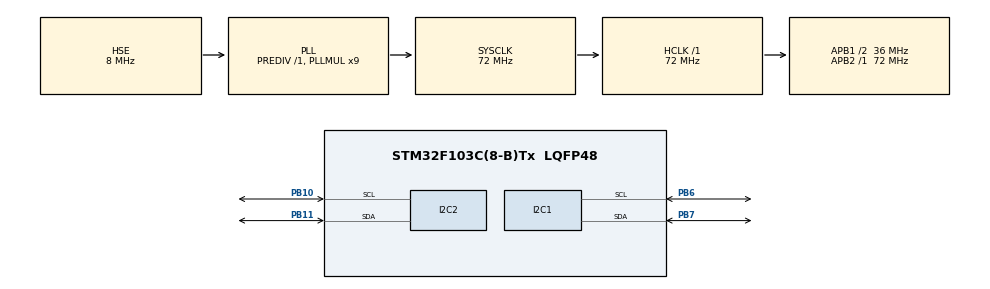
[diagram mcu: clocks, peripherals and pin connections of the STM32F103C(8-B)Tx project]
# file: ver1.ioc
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I2C2.I2C_Mode=I2C_Fast
Mcu.Family=STM32F1
Mcu.Name=STM32F103C(8-B)Tx
Mcu.Package=LQFP48
NVIC.PriorityGroup=NVIC_PRIORITYGROUP_4
PA13.Mode=Serial_Wire
PA13.Signal=SYS_JTMS-SWDIO
PA14.Mode=Serial_Wire
PA14.Signal=SYS_JTCK-SWCLK
PB10.Mode=I2C
PB10.Signal=I2C2_SCL
PB11.Mode=I2C
PB11.Signal=I2C2_SDA
PB6.Mode=I2C
PB6.Signal=I2C1_SCL
PB7.Mode=I2C
PB7.Signal=I2C1_SDA
PD0-OSC_IN.Mode=HSE-External-Oscillator
PD0-OSC_IN.Signal=RCC_OSC_IN
PD1-OSC_OUT.Mode=HSE-External-Oscillator
PD1-OSC_OUT.Signal=RCC_OSC_OUT
ProjectManager.HeapSize=0x200
ProjectManager.StackSize=0x400
ProjectManager.TargetToolchain=MDK-ARM V5.32
RCC.AHBFreq_Value=72000000
RCC.APB1CLKDivider=RCC_HCLK_DIV2
RCC.APB1Freq_Value=36000000
RCC.APB1TimFreq_Value=72000000
RCC.APB2Freq_Value=72000000
RCC.APB2TimFreq_Value=72000000
RCC.HCLKFreq_Value=72000000
RCC.PLLMUL=RCC_PLL_MUL9
RCC.PLLSourceVirtual=RCC_PLLSOURCE_HSE
RCC.SYSCLKFreq_VALUE=72000000
RCC.SYSCLKSource=RCC_SYSCLKSOURCE_PLLCLK
RCC.USBFreq_Value=72000000
board=custom

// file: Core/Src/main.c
/* USER CODE BEGIN Header */
/**
  ******************************************************************************
  * @file           : main.c
  * @brief          : Main program body
  ******************************************************************************
  * @attention
  *
  * Copyright (c) 2025 STMicroelectronics.
  * All rights reserved.
  *
  * This software is licensed under terms that can be found in the LICENSE file
  * in the root directory of this software component.
  * If no LICENSE file comes with this software, it is provided AS-IS.
  *
  ******************************************************************************
  */
/* USER CODE END Header */
#include "main.h"

/* USER CODE BEGIN Includes */
#include "lcd_i2c.h"
#include "stdio.h"
#include "font.h"
#include "oled_i2c.h"
/* USER CODE END Includes */

I2C_HandleTypeDef hi2c1;
I2C_HandleTypeDef hi2c2;

void SystemClock_Config(void);
static void MX_GPIO_Init(void);
static void MX_I2C1_Init(void);
static void MX_I2C2_Init(void);

/* USER CODE BEGIN 0 */
#define DS3231_DEVICE_ID      0xD0
#define DS3231_SECONDS_REG    0x00
#define DS3231_MINUTES_REG    0x01
#define DS3231_HOURS_REG      0x02
#define DS3231_DAY_REG        0x03
#define DS3231_DATE_REG       0x04
#define DS3231_MONTH_REG      0x05
#define DS3231_YEAR_REG       0x06
#define DS3231_TEMP_MSB_REG   0x11
#define DS3231_TEMP_LSB_REG   0x12

typedef struct {
    uint8_t seconds;
    uint8_t minutes;
    uint8_t hours;
    uint8_t months;
    uint8_t day_of_weeks;
    uint8_t day_of_months;
    uint8_t years; // S?a t? uint32_t thаnh uint8_t
} LOGAN_CLOCK;
LOGAN_CLOCK clock;

uint8_t set_time_ne[7];
uint8_t get_time_ne[7];

char date_str[11];
char time_str[9];

uint8_t decimal_bcd(uint8_t value) {
    return ((value / 10) << 4) | (value % 10);
}

uint8_t bcd_decimal(uint8_t bcd) {
    return ((bcd >> 4) * 10) + (bcd & 0x0F);
}

void set_time(uint8_t second, uint8_t minute, uint8_t hour, uint8_t day_of_week, uint8_t day_of_month, uint8_t month, uint16_t year) {
    set_time_ne[0] = decimal_bcd(second);
    set_time_ne[1] = decimal_bcd(minute);
    set_time_ne[2] = decimal_bcd(hour);
    set_time_ne[3] = decimal_bcd(day_of_week);
    set_time_ne[4] = decimal_bcd(day_of_month);
    set_time_ne[5] = decimal_bcd(month);
    set_time_ne[6] = decimal_bcd(year % 100); // Ch? l?y 2 ch? s? cu?i (25 t? 2025)
    HAL_I2C_Mem_Write(&hi2c1, DS3231_DEVICE_ID, 0x00, 1, set_time_ne, 7, 100);
}

void get_time() {
    HAL_I2C_Mem_Read(&hi2c1, DS3231_DEVICE_ID, 0x00, 1, get_time_ne, 7, 100);
    clock.seconds = bcd_decimal(get_time_ne[0]);
    clock.minutes = bcd_decimal(get_time_ne[1]);
    clock.hours = bcd_decimal(get_time_ne[2]);
    clock.day_of_weeks = bcd_decimal(get_time_ne[3]);
    clock.day_of_months = bcd_decimal(get_time_ne[4]);
    clock.months = bcd_decimal(get_time_ne[5]);
    clock.years = bcd_decimal(get_time_ne[6]);
}

void display(){
	get_time();
	sprintf(date_str, "%d/%d/%04d", clock.day_of_months, clock.months, 2000+clock.years);
	sprintf(time_str, "%d:%d:%d", clock.hours, clock.minutes, clock.seconds);
	SSD1306_Puts (date_str, &Font_11x18, 1);
	SSD1306_GotoXY (0, 30);
	SSD1306_Puts (time_str, &Font_11x18, 1);
	SSD1306_GotoXY (0,0);
  SSD1306_UpdateScreen();
}
/* USER CODE END 0 */

int main(void)
{

  /* MCU Configuration--------------------------------------------------------*/

  /* Reset of all peripherals, Initializes the Flash interface and the Systick. */
  HAL_Init();

  /* Configure the system clock */
  SystemClock_Config();

  /* Initialize all configured peripherals */
  MX_GPIO_Init();
  MX_I2C1_Init();
  MX_I2C2_Init();
	SSD1306_Init();
  /* USER CODE BEGIN 2 */
	set_time(0, 37, 14, 2, 12, 5, 2025); // second, minute, hour, day of weeks, day of months, month, year

  /* USER CODE END 2 */

  /* Infinite loop */
  while (1)
  {

    /* USER CODE BEGIN 3 */
		display();

  }
  /* USER CODE END 3 */
}

void SystemClock_Config(void)
{
  RCC_OscInitTypeDef RCC_OscInitStruct = {0};
  RCC_ClkInitTypeDef RCC_ClkInitStruct = {0};

  /** Initializes the RCC Oscillators according to the specified parameters
  * in the RCC_OscInitTypeDef structure.
  */
  RCC_OscInitStruct.OscillatorType = RCC_OSCILLATORTYPE_HSE;
  RCC_OscInitStruct.HSEState = RCC_HSE_ON;
  RCC_OscInitStruct.HSEPredivValue = RCC_HSE_PREDIV_DIV1;
  RCC_OscInitStruct.HSIState = RCC_HSI_ON;
  RCC_OscInitStruct.PLL.PLLState = RCC_PLL_ON;
  RCC_OscInitStruct.PLL.PLLSource = RCC_PLLSOURCE_HSE;
  RCC_OscInitStruct.PLL.PLLMUL = RCC_PLL_MUL9;
  if (HAL_RCC_OscConfig(&RCC_OscInitStruct) != HAL_OK)
  {
    Error_Handler();
  }

  /** Initializes the CPU, AHB and APB buses clocks
  */
  RCC_ClkInitStruct.ClockType = RCC_CLOCKTYPE_HCLK|RCC_CLOCKTYPE_SYSCLK
                              |RCC_CLOCKTYPE_PCLK1|RCC_CLOCKTYPE_PCLK2;
  RCC_ClkInitStruct.SYSCLKSource = RCC_SYSCLKSOURCE_PLLCLK;
  RCC_ClkInitStruct.AHBCLKDivider = RCC_SYSCLK_DIV1;
  RCC_ClkInitStruct.APB1CLKDivider = RCC_HCLK_DIV2;
  RCC_ClkInitStruct.APB2CLKDivider = RCC_HCLK_DIV1;

  if (HAL_RCC_ClockConfig(&RCC_ClkInitStruct, FLASH_LATENCY_2) != HAL_OK)
  {
    Error_Handler();
  }
}

static void MX_I2C1_Init(void)
{

  hi2c1.Instance = I2C1;
  hi2c1.Init.ClockSpeed = 100000;
  hi2c1.Init.DutyCycle = I2C_DUTYCYCLE_2;
  hi2c1.Init.OwnAddress1 = 0;
  hi2c1.Init.AddressingMode = I2C_ADDRESSINGMODE_7BIT;
  hi2c1.Init.DualAddressMode = I2C_DUALADDRESS_DISABLE;
  hi2c1.Init.OwnAddress2 = 0;
  hi2c1.Init.GeneralCallMode = I2C_GENERALCALL_DISABLE;
  hi2c1.Init.NoStretchMode = I2C_NOSTRETCH_DISABLE;
  if (HAL_I2C_Init(&hi2c1) != HAL_OK)
  {
    Error_Handler();
  }

}

static void MX_I2C2_Init(void)
{

  hi2c2.Instance = I2C2;
  hi2c2.Init.ClockSpeed = 400000;
  hi2c2.Init.DutyCycle = I2C_DUTYCYCLE_2;
  hi2c2.Init.OwnAddress1 = 0;
  hi2c2.Init.AddressingMode = I2C_ADDRESSINGMODE_7BIT;
  hi2c2.Init.DualAddressMode = I2C_DUALADDRESS_DISABLE;
  hi2c2.Init.OwnAddress2 = 0;
  hi2c2.Init.GeneralCallMode = I2C_GENERALCALL_DISABLE;
  hi2c2.Init.NoStretchMode = I2C_NOSTRETCH_DISABLE;
  if (HAL_I2C_Init(&hi2c2) != HAL_OK)
  {
    Error_Handler();
  }

}

static void MX_GPIO_Init(void)
{

  /* GPIO Ports Clock Enable */
  __HAL_RCC_GPIOD_CLK_ENABLE();
  __HAL_RCC_GPIOB_CLK_ENABLE();
  __HAL_RCC_GPIOA_CLK_ENABLE();

}

void Error_Handler(void)
{
  __disable_irq();
  while (1)
  {
  }
}
